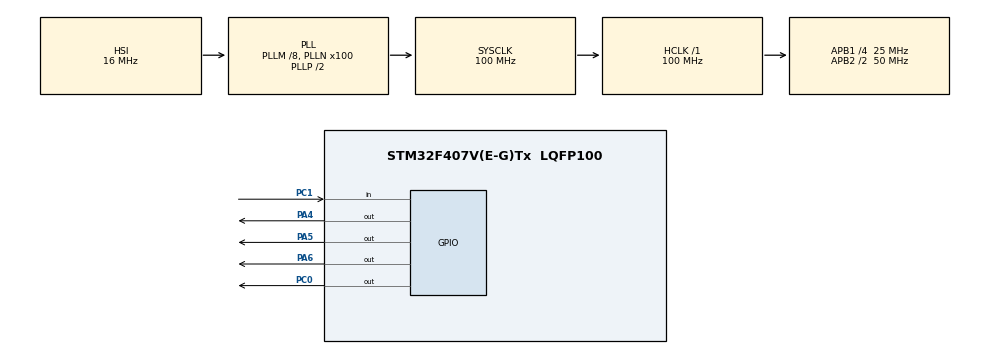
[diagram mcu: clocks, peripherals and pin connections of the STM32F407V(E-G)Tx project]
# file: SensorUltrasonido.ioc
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Mcu.Family=STM32F4
Mcu.Name=STM32F407V(E-G)Tx
Mcu.Package=LQFP100
NVIC.PriorityGroup=NVIC_PRIORITYGROUP_0
PA4.Signal=GPIO_Output
PA5.Signal=GPIO_Output
PA6.Signal=GPIO_Output
PC0.GPIO_PuPd=GPIO_NOPULL
PC0.Signal=GPIO_Output
PC1.GPIO_PuPd=GPIO_NOPULL
PC1.Signal=GPIO_Input
ProjectManager.HeapSize=0x200
ProjectManager.StackSize=0x400
ProjectManager.TargetToolchain=STM32CubeIDE
RCC.48MHZClocksFreq_Value=28571428.57142857
RCC.AHBFreq_Value=100000000
RCC.APB1CLKDivider=RCC_HCLK_DIV4
RCC.APB1Freq_Value=25000000
RCC.APB1TimFreq_Value=50000000
RCC.APB2CLKDivider=RCC_HCLK_DIV2
RCC.APB2Freq_Value=50000000
RCC.APB2TimFreq_Value=100000000
RCC.CortexFreq_Value=100000000
RCC.HCLKFreq_Value=100000000
RCC.HSE_VALUE=8000000
RCC.HSI_VALUE=16000000
RCC.LSE_VALUE=32768
RCC.PLLM=8
RCC.PLLN=100
RCC.PLLQ=7
RCC.SYSCLKFreq_VALUE=100000000
RCC.SYSCLKSource=RCC_SYSCLKSOURCE_PLLCLK
RCC.VCOOutputFreq_Value=200000000
board=STM32F407G-DISC1

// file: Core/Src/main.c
/* USER CODE BEGIN Header */
/**
  ******************************************************************************
  * @file           : main.c
  * @brief          : Main program body
  ******************************************************************************
  * @attention
  *
  * Copyright (c) 2025 STMicroelectronics.
  * All rights reserved.
  *
  * This software is licensed under terms that can be found in the LICENSE file
  * in the root directory of this software component.
  * If no LICENSE file comes with this software, it is provided AS-IS.
  *
  ******************************************************************************
  */
/* USER CODE END Header */
#include "main.h"

/* USER CODE BEGIN PV */
float distancia = 0.0f;
uint8_t led_rojo_encendido = 0;  // Bandera para indicar si el LED rojo está encendido
uint32_t tiempo_inicio_led_rojo = 0; // Almacena el tiempo de encendido del LED rojo
/* USER CODE END PV */

void SystemClock_Config(void);
static void MX_GPIO_Init(void);
/* USER CODE BEGIN PFP */
void DWT_Delay_us(uint32_t us);
float HC_SR04_ReadDistance(void); // Función para medir la distancia del sensor
void LED_Red_On(void);
void LED_Green_On(void);
void LED_Blue_On(void);
void LED_All_Off(void);

/* USER CODE END PFP */

int main(void)
{

  /* MCU Configuration--------------------------------------------------------*/

  /* Reset of all peripherals, Initializes the Flash interface and the Systick. */
  HAL_Init();

  /* USER CODE BEGIN Init */
  // Habilitar el TRC (Trace Control)
  	  CoreDebug->DEMCR |= CoreDebug_DEMCR_TRCENA_Msk;
  	  // Reiniciar el contador de ciclos
  	  DWT->CYCCNT = 0;
  	  // Habilitar el contador
  	  DWT->CTRL |= DWT_CTRL_CYCCNTENA_Msk;

  /* USER CODE END Init */

  /* Configure the system clock */
  SystemClock_Config();

  /* Initialize all configured peripherals */
  MX_GPIO_Init();

  /* Infinite loop */
  while (1)
  {

  }
}

void SystemClock_Config(void)
{
  RCC_OscInitTypeDef RCC_OscInitStruct = {0};
  RCC_ClkInitTypeDef RCC_ClkInitStruct = {0};

  /** Configure the main internal regulator output voltage
  */
  __HAL_RCC_PWR_CLK_ENABLE();
  __HAL_PWR_VOLTAGESCALING_CONFIG(PWR_REGULATOR_VOLTAGE_SCALE1);

  /** Initializes the RCC Oscillators according to the specified parameters
  * in the RCC_OscInitTypeDef structure.
  */
  RCC_OscInitStruct.OscillatorType = RCC_OSCILLATORTYPE_HSI;
  RCC_OscInitStruct.HSIState = RCC_HSI_ON;
  RCC_OscInitStruct.HSICalibrationValue = RCC_HSICALIBRATION_DEFAULT;
  RCC_OscInitStruct.PLL.PLLState = RCC_PLL_ON;
  RCC_OscInitStruct.PLL.PLLSource = RCC_PLLSOURCE_HSI;
  RCC_OscInitStruct.PLL.PLLM = 8;
  RCC_OscInitStruct.PLL.PLLN = 100;
  RCC_OscInitStruct.PLL.PLLP = RCC_PLLP_DIV2;
  RCC_OscInitStruct.PLL.PLLQ = 7;
  if (HAL_RCC_OscConfig(&RCC_OscInitStruct) != HAL_OK)
  {
    Error_Handler();
  }

  /** Initializes the CPU, AHB and APB buses clocks
  */
  RCC_ClkInitStruct.ClockType = RCC_CLOCKTYPE_HCLK|RCC_CLOCKTYPE_SYSCLK
                              |RCC_CLOCKTYPE_PCLK1|RCC_CLOCKTYPE_PCLK2;
  RCC_ClkInitStruct.SYSCLKSource = RCC_SYSCLKSOURCE_PLLCLK;
  RCC_ClkInitStruct.AHBCLKDivider = RCC_SYSCLK_DIV1;
  RCC_ClkInitStruct.APB1CLKDivider = RCC_HCLK_DIV4;
  RCC_ClkInitStruct.APB2CLKDivider = RCC_HCLK_DIV2;

  if (HAL_RCC_ClockConfig(&RCC_ClkInitStruct, FLASH_LATENCY_3) != HAL_OK)
  {
    Error_Handler();
  }
}

static void MX_GPIO_Init(void)
{
  GPIO_InitTypeDef GPIO_InitStruct = {0};

  /* GPIO Ports Clock Enable */
  __HAL_RCC_GPIOC_CLK_ENABLE();
  __HAL_RCC_GPIOA_CLK_ENABLE();

  /*Configure GPIO pin Output Level */
  HAL_GPIO_WritePin(GPIOC, GPIO_PIN_0, GPIO_PIN_RESET);

  /*Configure GPIO pin Output Level */
  HAL_GPIO_WritePin(GPIOA, GPIO_PIN_4|GPIO_PIN_5|GPIO_PIN_6, GPIO_PIN_RESET);

  /*Configure GPIO pin : PC0 */
  GPIO_InitStruct.Pin = GPIO_PIN_0;
  GPIO_InitStruct.Mode = GPIO_MODE_OUTPUT_PP;
  GPIO_InitStruct.Pull = GPIO_NOPULL;
  GPIO_InitStruct.Speed = GPIO_SPEED_FREQ_LOW;
  HAL_GPIO_Init(GPIOC, &GPIO_InitStruct);

  /*Configure GPIO pin : PC1 */
  GPIO_InitStruct.Pin = GPIO_PIN_1;
  GPIO_InitStruct.Mode = GPIO_MODE_INPUT;
  GPIO_InitStruct.Pull = GPIO_NOPULL;
  HAL_GPIO_Init(GPIOC, &GPIO_InitStruct);

  /*Configure GPIO pins : PA4 PA5 PA6 */
  GPIO_InitStruct.Pin = GPIO_PIN_4|GPIO_PIN_5|GPIO_PIN_6;
  GPIO_InitStruct.Mode = GPIO_MODE_OUTPUT_PP;
  GPIO_InitStruct.Pull = GPIO_NOPULL;
  GPIO_InitStruct.Speed = GPIO_SPEED_FREQ_LOW;
  HAL_GPIO_Init(GPIOA, &GPIO_InitStruct);

}

/* USER CODE BEGIN 4 */

/**
  * @brief Lee la distancia medida por el HC-SR04 usando PC0 (Trig) y PC1 (Echo).
  * @retval Distancia en centímetros (float)
  */
float HC_SR04_ReadDistance(void)
{
    uint32_t tiempoEcho_us = 0;
    float distancia_cm = 0.0f;

    // 1) Generar pulso de 10 us en TRIG (PC0)
    HAL_GPIO_WritePin(GPIOC, GPIO_PIN_5, GPIO_PIN_RESET);
    DWT_Delay_us(2);      // Pequeño retraso
    HAL_GPIO_WritePin(GPIOC, GPIO_PIN_5, GPIO_PIN_SET);
    DWT_Delay_us(10);     // Pulso de 10 us
    HAL_GPIO_WritePin(GPIOC, GPIO_PIN_5, GPIO_PIN_RESET);

    // 2) Esperar a que Echo (PC1) se ponga en alto
    while (HAL_GPIO_ReadPin(GPIOC, GPIO_PIN_6) == GPIO_PIN_RESET);

    // Iniciamos conteo de tiempo
    uint32_t startTick = DWT->CYCCNT;

    // 3) Esperar a que Echo se ponga en bajo
    while (HAL_GPIO_ReadPin(GPIOC, GPIO_PIN_6) == GPIO_PIN_SET);

    // Fin de la medición
    uint32_t endTick = DWT->CYCCNT;

    // 4) Calcular duración en microsegundos
    //    Suponiendo SystemCoreClock = 168 MHz
    //    1 tick DWT ~ 1/168e6 s => us = ticks / (168e6/1e6)
    tiempoEcho_us = (uint32_t)((endTick - startTick) / (SystemCoreClock / 1000000.0f));

    // 5) Calcular distancia en cm
    //    Distancia (cm) ≈ tiempoEcho_us / 58
    distancia_cm = (float)tiempoEcho_us / 58.0f;

    return distancia_cm;
}

/**
  * @brief Retardo en microsegundos usando DWT
  * @param us: microsegundos a esperar
  */
void DWT_Delay_us(uint32_t us)
{
    // Valor inicial de conteo
    uint32_t startTick = DWT->CYCCNT;
    // Calcular cuántos ticks de CPU corresponden a "us" microsegundos
    uint32_t ticks = us * (SystemCoreClock / 1000000UL);
    // Esperar hasta que se cumpla
    while ((DWT->CYCCNT - startTick) < ticks);
}

void LED_Red_On(void) {
    HAL_GPIO_WritePin(GPIOA, GPIO_PIN_5, GPIO_PIN_SET); // Encender Rojo
    HAL_GPIO_WritePin(GPIOA, GPIO_PIN_6, GPIO_PIN_RESET); // Apagar Verde
    HAL_GPIO_WritePin(GPIOA, GPIO_PIN_4, GPIO_PIN_RESET); // Apagar Azul
}

void LED_Green_On(void) {
    HAL_GPIO_WritePin(GPIOA, GPIO_PIN_6, GPIO_PIN_RESET); // Encender Verde
    HAL_GPIO_WritePin(GPIOA, GPIO_PIN_5, GPIO_PIN_SET); // Apagar Rojo
    HAL_GPIO_WritePin(GPIOA, GPIO_PIN_4, GPIO_PIN_SET); // Apagar Azul
}

void LED_Blue_On(void) {
    HAL_GPIO_WritePin(GPIOA, GPIO_PIN_4, GPIO_PIN_SET); // Encender Azul
    HAL_GPIO_WritePin(GPIOA, GPIO_PIN_5, GPIO_PIN_RESET); // Apagar Rojo
    HAL_GPIO_WritePin(GPIOA, GPIO_PIN_6, GPIO_PIN_RESET); // Apagar Verde
}

void LED_All_Off(void) {
    HAL_GPIO_WritePin(GPIOA, GPIO_PIN_5, GPIO_PIN_RESET); // Apagar Rojo
    HAL_GPIO_WritePin(GPIOA, GPIO_PIN_6, GPIO_PIN_RESET); // Apagar Verde
    HAL_GPIO_WritePin(GPIOA, GPIO_PIN_4, GPIO_PIN_RESET); // Apagar Azul
}

/* USER CODE END 4 */

void Error_Handler(void)
{
  __disable_irq();
  while (1)
  {
  }
}
